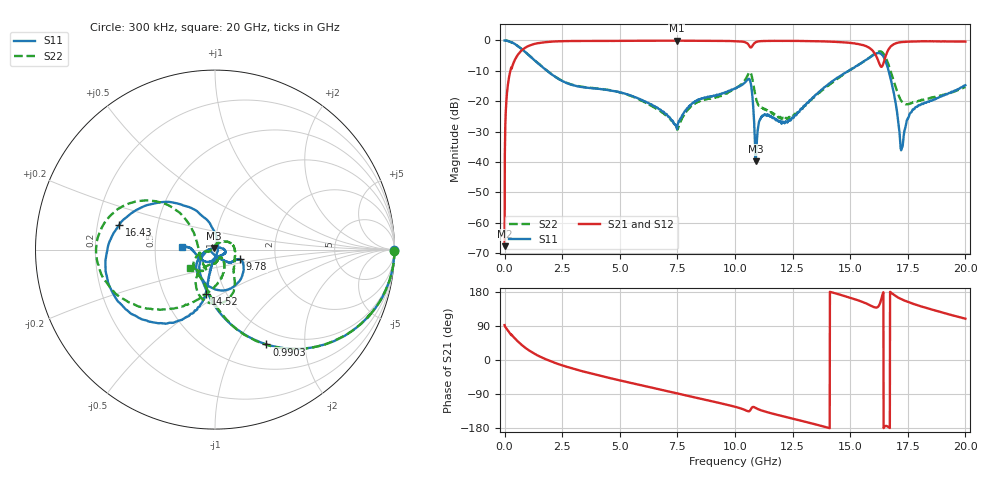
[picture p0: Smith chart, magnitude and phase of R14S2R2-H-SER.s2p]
!{R14S2R2}
!Johanson Technology Inc.
!www.johansontechnology.com
!Test Board Conditions:
!Substrate Type  RO4350B
!Substrate Thickness  20 mil
!Substrate Dk  3.66
!TL Type: GCPW
!TL Trace Width  36 mil
!TL Gap  12 mil
!Electrode orientation  Horizontal
!DUT TOPOLOGY	SERIES
!Mounting Pad LxW  26x36 mil
! Created Wed Nov 25 17:33:21 2020
! 2 Port Network Data from SP1.SP block
! freq  magS11  angS11  magS21  angS21  magS12  angS12  magS22  angS22
# khz S ma R 50
! decimated to every 10th point (10 MHz spacing) of the original 1 MHz Johanson file; values unchanged
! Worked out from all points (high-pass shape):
!   2001 points, 300 kHz to 20 GHz, reference 50 ohm
!   highest |S21| = -0.06 dB at 7.48 GHz (marker M1); lowest = -67.7 dB at 300 kHz (marker M2)
!   |S21| within 3 dB of the highest: 774.4 MHz to 15.94 GHz (15.16 GHz wide, 181 % of centre); 16.65 GHz to end of sweep
!   lowest |S11| = -39.8 dB at 10.89 GHz (marker M3), VSWR 1.02, Z = 49.5 + j0.907 ohm
!   |S11| at or under -10 dB: 1.844 GHz to 14.93 GHz (13.09 GHz wide, 156 % of centre); 16.67 GHz to end of sweep
!   |S22| runs from -29.4 to 0.0 dB; largest |S21 - S12| = 0.014
!   S11 on the Smith chart (normalised r, x): 300 kHz: open; 990.3 MHz: 0.81, -1.34; 9.78 GHz: 1.31, -0.14; 14.52 GHz: 0.80, -0.42; 16.43 GHz: 0.29, +0.12; 20 GHz: 0.69, +0.02
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300  0.9984 -0.2  0.0004134 92.1  0.0004495 93.8  0.9979 -0.3
110300  0.9892 -9.5  0.1451 80.4  0.1457 80.4  0.9882 -9.4
190300  0.9684 -16.2  0.2455 73.7  0.2465 73.6  0.9678 -16.1
990300  0.6009 -61.5  0.7946 28.1  0.7943 28.2  0.6016 -61.6
3340300  0.1716 -119.3  0.9801 -29.2  0.9801 -29.2  0.1736 -118.8
6670300  0.07596 -159.8  0.9898 -76.8  0.99 -76.9  0.07192 -169.3
7480300  0.03514 180.0  0.9931 -88.0  0.9926 -88.0  0.03715 -160.4
8240300  0.09748 -44.6  0.987 -98.5  0.9866 -98.5  0.09113 26.0
9780300  0.1488 -21.1  0.9787 -120.1  0.9766 -120.0  0.1438 -43.2
1.00003e7  0.1633 -22.1  0.9727 -123.4  0.9733 -123.4  0.1615 -49.4
1.06303e7  0.2305 -81.4  0.8013 -134.7  0.8044 -134.6  0.3011 -84.0
1.08903e7  0.01024 116.6  0.9306 -126.3  0.932 -126.3  0.1195 -122.3
1.12303e7  0.05744 -7.7  0.9764 -134.8  0.9781 -134.8  0.07487 -89.7
1.20903e7  0.04591 -59.3  0.984 -148.7  0.9851 -148.5  0.05312 -64.9
1.33403e7  0.1114 -103.1  0.975 -167.6  0.9789 -167.5  0.1084 -61.1
1.45203e7  0.2537 -102.0  0.9411 173.1  0.9424 173.0  0.2444 -99.7
1.59103e7  0.5427 -132.3  0.717 142.9  0.7184 143.0  0.5464 -146.2
1.64303e7  0.5519 165.5  0.4085 177.3  0.4054 178.3  0.6155 162.5
1.66703e7  0.313 126.7  0.7192 -177.4  0.7162 -176.6  0.3925 138.6
1.72403e7  0.01727 -18.7  0.9397 159.9  0.94 160.0  0.09862 166.9
1.77803e7  0.0742 -115.7  0.9623 147.2  0.9603 147.1  0.09614 -142.9
2e7  0.1833 175.0  0.9585 108.9  0.9571 109.1  0.1723 -143.0
